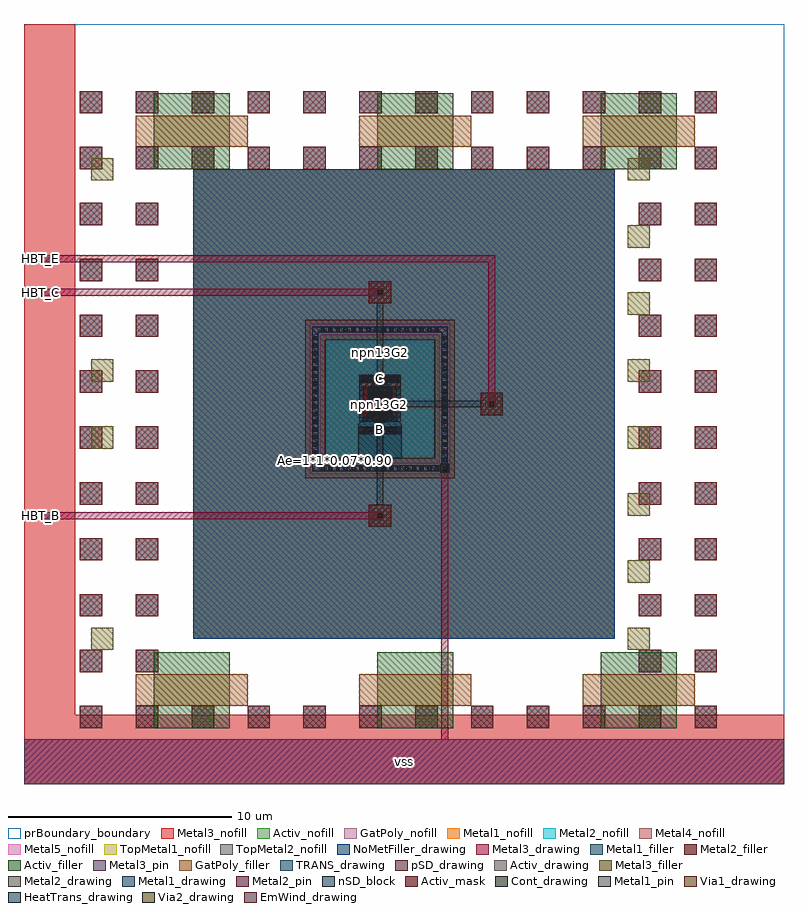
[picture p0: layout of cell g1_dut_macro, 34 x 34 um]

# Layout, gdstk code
import gdstk
lib = gdstk.Library(unit=1e-6, precision=1e-09)
def R(c, l, rs):  # rectangles x0, y0, x1, y1
    for r in rs: c.add(gdstk.rectangle(r[:2], r[2:], *l))
def A(c, l, x, y, w, h, nx, ny, dx, dy):  # array of equal rectangles
    R(c, l, [(x+i*dx, y+j*dy, x+i*dx+w, y+j*dy+h) for i in range(nx) for j in range(ny)])
def P(c, l, *ps):  # polygons
    for p in ps: c.add(gdstk.Polygon(p, *l))
Activ_drawing = (1, 0)
Activ_mask = (1, 20)
Activ_filler = (1, 22)
Activ_nofill = (1, 23)
GatPoly_filler = (5, 22)
GatPoly_nofill = (5, 23)
Cont_drawing = (6, 0)
nSD_block = (7, 21)
Metal1_drawing = (8, 0)
Metal1_pin = (8, 2)
Metal1_filler = (8, 22)
Metal1_nofill = (8, 23)
Metal2_drawing = (10, 0)
Metal2_pin = (10, 2)
Metal2_filler = (10, 22)
Metal2_nofill = (10, 23)
pSD_drawing = (14, 0)
Via1_drawing = (19, 0)
TRANS_drawing = (26, 0)
Via2_drawing = (29, 0)
Metal3_drawing = (30, 0)
Metal3_pin = (30, 2)
Metal3_filler = (30, 22)
Metal3_nofill = (30, 23)
EmWind_drawing = (33, 0)
Metal4_nofill = (50, 23)
HeatTrans_drawing = (51, 0)
Metal5_nofill = (67, 23)
TopMetal1_nofill = (126, 23)
TopMetal2_nofill = (134, 23)
NoMetFiller_drawing = (160, 0)
prBoundary_boundary = (189, 4)

g1_dut_macro = lib.new_cell('g1_dut_macro')
R(g1_dut_macro, Activ_drawing, [(15,17.98,16.85,18.28)])
P(g1_dut_macro, Activ_drawing, [(12.775,13.87),(12.775,20.58),(18.575,20.58),(18.575,20.08),(13.275,20.08),(13.275,14.37),(18.575,14.37),(18.575,20.58),(19.075,20.58),(19.075,13.87)])
P(g1_dut_macro, Activ_mask, [(15.69,16.17),(15.48,16.38),(15,16.38),(15,17.98),(16.85,17.98),(16.85,16.38),(16.37,16.38),(16.16,16.17)])
A(g1_dut_macro, Activ_filler, 5.8, 2.5, 3.4, 3.4, 3, 2, 10, 25)
R(g1_dut_macro, Activ_nofill, [(7.575,6.5,26.425,27.5)])
A(g1_dut_macro, GatPoly_filler, 5, 3.5, 5, 1.4, 3, 2, 10, 25)
R(g1_dut_macro, GatPoly_nofill, [(7.575,6.5,26.425,27.5)])
A(g1_dut_macro, Cont_drawing, 13.295, 14.04, 0.16, 0.16, 16, 2, 0.34, 6.21)
A(g1_dut_macro, Cont_drawing, 12.945, 14.425, 0.16, 0.16, 1, 17, 0, 0.34)
A(g1_dut_macro, Cont_drawing, 18.745, 14.425, 0.16, 0.16, 1, 17, 0, 0.34)
R(g1_dut_macro, Cont_drawing, [(15.165,15.78,16.685,15.94), (15.1,18.05,16.75,18.21)])
P(g1_dut_macro, nSD_block, [(14.95,14.57),(14.95,16.1),(15.37,16.52),(15.37,17.69),(15.62,17.94),(16.23,17.94),(16.48,17.69),(16.48,16.52),(16.9,16.1),(16.9,14.57)])
R(g1_dut_macro, Metal1_drawing, [(18.675,13.97,18.975,14.27), (12.895,13.99,18.955,14.25), (12.895,13.99,13.155,20.46), (18.695,13.99,18.955,20.46), (14.95,15.65,16.9,15.98), (14.95,15.74,16.9,15.98), (15.575,16.215,16.275,17.77), (15,18.01,16.85,18.3), (15,18.01,16.85,18.25), (12.895,20.2,18.955,20.46)])
R(g1_dut_macro, Metal1_pin, [(14.95,15.74,16.9,15.98), (18.695,16.5,18.955,17.5), (15,18.01,16.85,18.25)])
A(g1_dut_macro, Metal1_filler, 2.5, 2.5, 1, 1, 12, 2, 2.5, 25)
A(g1_dut_macro, Metal1_filler, 2.5, 5, 1, 1, 1, 9, 0, 2.5)
A(g1_dut_macro, Metal1_filler, 5, 5, 1, 1, 1, 9, 0, 2.5)
A(g1_dut_macro, Metal1_filler, 27.5, 5, 1, 1, 1, 9, 0, 2.5)
A(g1_dut_macro, Metal1_filler, 30, 5, 1, 1, 1, 9, 0, 2.5)
A(g1_dut_macro, Metal1_filler, 2.5, 30, 1, 1, 12, 1, 2.5, 0)
R(g1_dut_macro, Metal1_nofill, [(7.575,6.5,26.425,27.5)])
R(g1_dut_macro, Metal2_drawing, [(15.425,11.5,16.425,12.5), (15.775,12.5,16.075,15.945), (18.625,13.92,19.025,14.32), (14.95,15.65,16.9,15.945), (15,16.215,16.85,17.77), (20.425,16.5,21.425,17.5), (16.825,16.85,20.425,17.15), (15,18.01,16.85,18.3), (15.775,18.01,16.075,21.5), (15.425,21.5,16.425,22.5)])
R(g1_dut_macro, Metal2_pin, [(15.425,11.5,16.425,12.5), (15.18,16.215,16.67,17.77), (20.425,16.5,21.425,17.5), (15.425,21.5,16.425,22.5)])
A(g1_dut_macro, Metal2_filler, 2.5, 2.5, 1, 1, 12, 2, 2.5, 25)
A(g1_dut_macro, Metal2_filler, 2.5, 5, 1, 1, 1, 9, 0, 2.5)
A(g1_dut_macro, Metal2_filler, 5, 5, 1, 1, 1, 9, 0, 2.5)
A(g1_dut_macro, Metal2_filler, 27.5, 5, 1, 1, 1, 9, 0, 2.5)
A(g1_dut_macro, Metal2_filler, 30, 5, 1, 1, 1, 9, 0, 2.5)
A(g1_dut_macro, Metal2_filler, 2.5, 30, 1, 1, 12, 1, 2.5, 0)
R(g1_dut_macro, Metal2_nofill, [(7.575,6.5,26.425,27.5)])
P(g1_dut_macro, pSD_drawing, [(12.575,13.67),(12.575,20.78),(18.375,20.78),(18.375,19.88),(13.475,19.88),(13.475,14.57),(18.375,14.57),(18.375,20.78),(19.275,20.78),(19.275,13.67)])
A(g1_dut_macro, Via1_drawing, 15.155, 15.705, 0.19, 0.19, 4, 2, 0.45, 2.355)
A(g1_dut_macro, Via1_drawing, 15.625, 16.28, 0.19, 0.19, 1, 4, 0, 0.41)
A(g1_dut_macro, Via1_drawing, 16.035, 16.28, 0.19, 0.19, 1, 4, 0, 0.41)
R(g1_dut_macro, Via1_drawing, [(18.73,14.025,18.92,14.215)])
R(g1_dut_macro, TRANS_drawing, [(13.475,14.57,18.375,19.88)])
R(g1_dut_macro, Via2_drawing, [(15.83,11.905,16.02,12.095), (18.73,14.025,18.92,14.215), (20.83,16.905,21.02,17.095), (15.83,21.905,16.02,22.095)])
R(g1_dut_macro, Metal3_drawing, [(0,0,34,2), (18.675,0.85,18.975,14.27), (0,11.85,1.5,12.15), (0.6,11.85,16.075,12.15), (15.775,11.85,16.075,12.15), (18.675,13.97,18.975,14.27), (20.775,16.85,21.075,17.15), (20.775,16.85,21.075,23.65), (0,21.85,1.5,22.15), (0.6,21.85,16.075,22.15), (15.775,21.85,16.075,22.15), (0,23.35,1.5,23.65), (0.6,23.35,21.075,23.65)])
R(g1_dut_macro, Metal3_pin, [(0,0,34,2), (0,11.85,1.5,12.15), (0,21.85,1.5,22.15), (0,23.35,1.5,23.65)])
A(g1_dut_macro, Metal3_filler, 27, 6, 1, 1, 1, 8, 0, 3)
R(g1_dut_macro, Metal3_filler, [(3,6,4,7), (3,15,4,16), (3,18,4,19), (3,27,4,28)])
R(g1_dut_macro, Metal3_nofill, [(0,0,2.3,34), (0,0,34,3.1), (7.575,6.5,26.425,27.5)])
R(g1_dut_macro, EmWind_drawing, [(15.89,16.55,15.96,17.45)])
R(g1_dut_macro, Metal4_nofill, [(7.575,6.5,26.425,27.5)])
R(g1_dut_macro, HeatTrans_drawing, [(15.84,16.5,16.01,17.5)])
R(g1_dut_macro, Metal5_nofill, [(7.575,6.5,26.425,27.5)])
R(g1_dut_macro, TopMetal1_nofill, [(7.575,6.5,26.425,27.5)])
R(g1_dut_macro, TopMetal2_nofill, [(7.575,6.5,26.425,27.5)])
R(g1_dut_macro, NoMetFiller_drawing, [(7.575,6.5,26.425,27.5)])
R(g1_dut_macro, prBoundary_boundary, [(0,0,34,34)])
g1_dut_macro.add(gdstk.Label('npn13G2', (15.925,17), layer=51, texttype=0))
g1_dut_macro.add(gdstk.Label('npn13G2', (15.94,19.31), layer=63, texttype=0))
g1_dut_macro.add(gdstk.Label('C', (15.925,18.13), layer=63, texttype=0))
g1_dut_macro.add(gdstk.Label('B', (15.925,15.86), layer=63, texttype=0))
g1_dut_macro.add(gdstk.Label('E', (15.925,16.993), layer=63, texttype=0))
g1_dut_macro.add(gdstk.Label('Ae=1*1*0.07*0.90', (13.948,14.454), layer=63, texttype=0))
g1_dut_macro.add(gdstk.Label('HBT_C', (0.75,22), layer=30, texttype=25))
g1_dut_macro.add(gdstk.Label('HBT_B', (0.75,12), layer=30, texttype=25))
g1_dut_macro.add(gdstk.Label('HBT_E', (0.75,23.5), layer=30, texttype=25))
g1_dut_macro.add(gdstk.Label('vss', (17,1), layer=30, texttype=25))

lib.write_gds('g1_dut_macro.gds')
